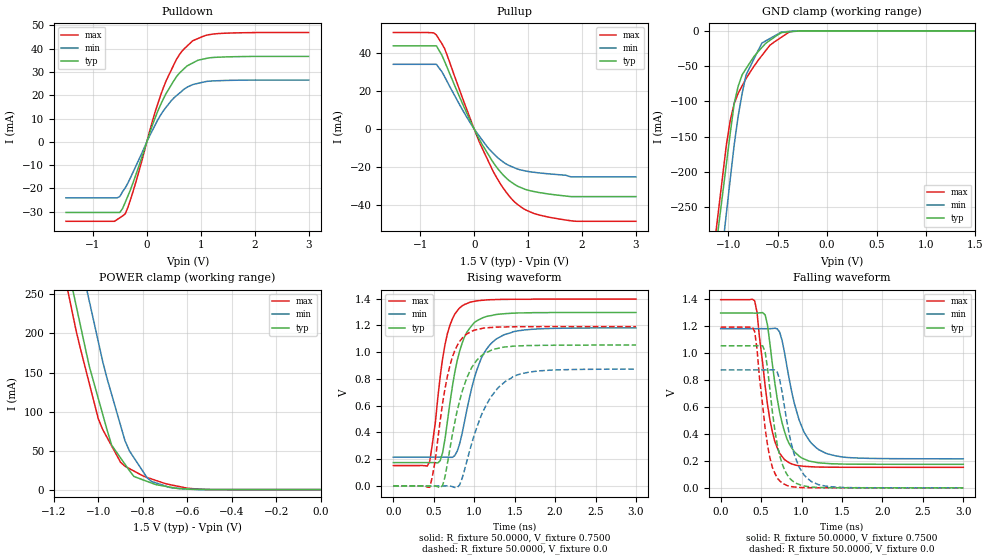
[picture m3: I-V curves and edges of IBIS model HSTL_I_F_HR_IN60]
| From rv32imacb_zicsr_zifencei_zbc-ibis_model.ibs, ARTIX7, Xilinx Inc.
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[Model]  HSTL_I_F_HR_IN60
Model_type I/O
Polarity   Non-Inverting
Enable   Active-Low
Vinl = 0.65
Vinh = 0.85
Vmeas =  0.7500V
Cref =   0.0F
Rref =   50.0000
Vref =   0.7500V
C_comp   7.6900pF   7.5100pF   7.7200pF
[Model Spec]
Vinl   0.65   0.6125   0.6875
Vinh   0.85   0.8125   0.8875
[Temperature Range]   25.0000   85.0000   0.0
[Voltage Range]   1.5000V   1.4250V   1.5750V
[Add Submodel]
| Submodel Name   Mode
IN60_1V5   Non-Driving
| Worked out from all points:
|   slope of the pulldown table from 0 to 0.225 V, typ, clamps not added: 15.7 ohm
|   slope of the pullup table from 0 to 0.225 V, typ, clamps not added: 19.3 ohm
|   GND clamp passes 1 mA (typ) near -0.35 V on its own axis
|   POWER clamp passes 1 mA (typ) near -0.61 V on its own axis
|   rising waveform, R_fixture 50.0000, V_fixture 0.7500: 20-80 % time 204ps typ, 261ps min, 170ps max; typ from 0.174 V to 1.3 V
|   rising waveform, R_fixture 50.0000, V_fixture 0.0: 20-80 % time 255ps typ, 345ps min, 197ps max; typ from 0 V to 1.05 V
|   falling waveform, R_fixture 50.0000, V_fixture 0.7500: 20-80 % time 191ps typ, 242ps min, 171ps max; typ from 1.3 V to 0.175 V
|   falling waveform, R_fixture 50.0000, V_fixture 0.0: 20-80 % time 156ps typ, 194ps min, 144ps max; typ from 1.05 V to 0 V
[Pulldown]
|Voltage   I(typ)   I(min)   I(max)
-1.5V     -30.34mA   -24.07mA   -34.15mA
-600mV    -30.34mA   -24.07mA   -34.15mA
-500mV    -30.34mA   -23.47mA   -32.61mA
-400mV    -25.96mA   -19.79mA   -30.91mA
-250mV    -17.22mA   -12.77mA   -20.92mA
100mV     6.914mA    4.728mA    8.579mA
300mV     18.13mA    13.07mA    22.81mA
600mV     29.4mA     20.79mA    37.28mA
850mV     33.85mA    24.56mA    43.37mA
1.1V      35.8mA     25.9mA     45.75mA
1.3V      36.31mA    26.22mA    46.44mA
3V        36.68mA    26.53mA    46.92mA
[Pullup]
|Voltage   I(typ)   I(min)   I(max)
-1.5V     43.6mA     33.93mA    50.55mA
-800mV    43.6mA     33.93mA    50.49mA
-700mV    43.6mA     33.93mA    49.25mA
-550mV    35.52mA    27.53mA    42.23mA
-150mV    9.135mA    6.856mA    11.2mA
150mV     -8.169mA   -5.804mA   -10.15mA
350mV     -17.37mA   -12.66mA   -22.06mA
500mV     -22.87mA   -16.42mA   -29.36mA
800mV     -29.85mA   -20.89mA   -39.39mA
1.1V      -32.67mA   -22.6mA    -44.12mA
1.75V     -35.24mA   -24.68mA   -47.85mA
3V        -35.37mA   -25.05mA   -48.3mA
[GND_clamp]
|Voltage   I(typ)   I(min)   I(max)
-1.5V     -843mA     -931.9mA   -809.3mA
-1.14V    -323.5mA   -409mA     -302.3mA
-1.1V     -278.8mA   -359.1mA   -255.6mA
-1.06V    -234mA     -309.2mA   -208.8mA
-1.02V    -189.3mA   -259.4mA   -162.1mA
-940mV    -102.7mA   -161mA     -102.9mA
-900mV    -78.39mA   -120.7mA   -88.44mA
-820mV    -53.46mA   -62.42mA   -67.47mA
-660mV    -23.56mA   -17.33mA   -34.98mA
-460mV    -2.473mA   -1.588mA   -8.869mA
-340mV    -929.6uA   -324uA     -401.4uA
1.5V      8.414nA    95.09nA    7.366nA
[POWER_clamp]
|Voltage   I(typ)   I(min)   I(max)
-1.5V     827.8mA    915mA      794.3mA
-1.14V    289.3mA    377.8mA    258.7mA
-1.12V    262.8mA    349.6mA    231.3mA
-1.1V     236.2mA    321.4mA    203.8mA
-1.04V    157.4mA    240.8mA    135.4mA
-1V       116.6mA    189.4mA    90.68mA
-940mV    56.93mA    121.9mA    55.95mA
-880mV    32.42mA    62.53mA    29.9mA
-840mV    16.85mA    40.92mA    23.8mA
-780mV    10.44mA    14.91mA    15.47mA
-680mV    3.288mA    2.829mA    6.442mA
0V        0A         0A         0A
[Ramp]
| variable   typ   min   max
dV/dt_r  0.6318/0.2546n   0.5238/0.3448n   0.7146/0.1970n
dV/dt_f  0.6664/0.2443n   0.5603/0.3121n   0.7448/0.1990n
R_load = 50.0000
[Rising Waveform]
R_fixture= 50.0000
V_fixture= 0.7500
V_fixture_min= 0.7125
V_fixture_max= 0.7875
|time   V(typ)   V(min)   V(max)
0s        174.4mV    215.1mV    152.2mV
450ps     174.3mV    215.1mV    183.3mV
580ps     188.9mV    215.1mV    820.2mV
640ps     354.2mV    215.2mV    1.059V
760ps     848.6mV    226.6mV    1.285V
850ps     1.065V     390.9mV    1.345V
1.03ns    1.233V     861.2mV    1.383V
1.27ns    1.281V     1.097V     1.393V
1.7ns     1.294V     1.17V      1.395V
3ns       1.296V     1.181V     1.396V
[Rising Waveform]
R_fixture= 50.0000
V_fixture= 0.0
|time   V(typ)   V(min)   V(max)
0s        0V         0V         0V
450ps     -22.29uV   7.356uV    -10.28mV
520ps     -140.1uV   6.367uV    197.1mV
610ps     4.08mV     -12.27uV   621.3mV
700ps     278.8mV    -661.3uV   899.1mV
820ps     634.8mV    8.135mV    1.08V
910ps     809.7mV    186.5mV    1.136V
1.15ns    996.8mV    606mV      1.181V
1.48ns    1.044V     816.5mV    1.189V
3ns       1.053V     873mV      1.191V
[Falling Waveform]
R_fixture= 50.0000
V_fixture= 0.7500
V_fixture_min= 0.7125
V_fixture_max= 0.7875
|time   V(typ)   V(min)   V(max)
0s        1.297V     1.181V     1.396V
420ps     1.296V     1.181V     1.388V
450ps     1.296V     1.181V     1.301V
550ps     1.283V     1.181V     754.3mV
670ps     777.3mV    1.184V     344mV
730ps     559mV      1.154V     255.8mV
790ps     416.8mV    1.002V     209.3mV
970ps     235.7mV    503.2mV    164.1mV
1.21ns    185.8mV    284.1mV    154.5mV
3ns       174.6mV    215.6mV    152.3mV
[Falling Waveform]
R_fixture= 50.0000
V_fixture= 0.0
|time   V(typ)   V(min)   V(max)
0s        1.054V     874.7mV    1.192V
420ps     1.054V     874.7mV    1.161V
520ps     1.053V     874.7mV    609.4mV
580ps     886mV      874.7mV    314.9mV
670ps     427.6mV    874.4mV    109.2mV
760ps     179.2mV    708.4mV    35.33mV
850ps     72.6mV     392.3mV    12.58mV
910ps     42.11mV    247.3mV    6.356mV
1.12ns    6.092mV    47.28mV    1.145mV
3ns       111.9uV    203.6uV    82.28uV
